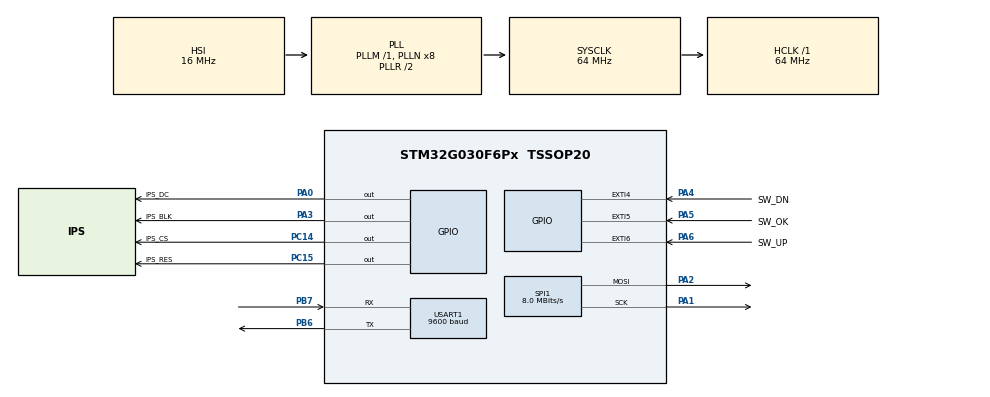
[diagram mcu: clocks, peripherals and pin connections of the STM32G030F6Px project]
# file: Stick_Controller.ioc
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Mcu.Family=STM32G0
Mcu.Name=STM32G030F6Px
Mcu.Package=TSSOP20
NVIC.EXTI4_15_IRQn=true\:3\:0\:true\:false\:true\:true\:true\:true
PA0.GPIO_Label=IPS_DC
PA0.Signal=GPIO_Output
PA1.Mode=TX_Only_Simplex_Unidirect_Master
PA1.Signal=SPI1_SCK
PA13.Mode=Serial_Wire
PA13.Signal=SYS_SWDIO
PA14-BOOT0.Mode=Serial_Wire
PA14-BOOT0.Signal=SYS_SWCLK
PA14-BOOT0__PA15.StandardMode=true
PA2.Mode=TX_Only_Simplex_Unidirect_Master
PA2.Signal=SPI1_MOSI
PA3.GPIO_Label=IPS_BLK
PA3.Signal=GPIO_Output
PA4.GPIO_Label=SW_DN
PA4.GPIO_ModeDefaultEXTI=GPIO_MODE_IT_FALLING
PA4.GPIO_PuPd=GPIO_PULLUP
PA4.Signal=GPXTI4
PA5.GPIO_Label=SW_OK
PA5.GPIO_ModeDefaultEXTI=GPIO_MODE_IT_FALLING
PA5.GPIO_PuPd=GPIO_PULLUP
PA5.Signal=GPXTI5
PA6.GPIO_Label=SW_UP
PA6.GPIO_ModeDefaultEXTI=GPIO_MODE_IT_FALLING
PA6.GPIO_PuPd=GPIO_PULLUP
PA6.Signal=GPXTI6
PB0__PB1__PB2__PA8.StandardMode=true
PB3__PB4__PB5__PB6.StandardMode=true
PB6.Mode=Asynchronous
PB6.Signal=USART1_TX
PB7.Mode=Asynchronous
PB7.Signal=USART1_RX
PB7__PB8.StandardMode=true
PC14-OSC32_IN\ (PC14).GPIO_Label=IPS_CS
PC14-OSC32_IN\ (PC14).Signal=GPIO_Output
PC14-OSC32_IN\ (PC14)__PB9.StandardMode=true
PC15-OSC32_OUT\ (PC15).GPIO_Label=IPS_RES
PC15-OSC32_OUT\ (PC15).Signal=GPIO_Output
ProjectManager.HeapSize=0x200
ProjectManager.StackSize=0x400
ProjectManager.TargetToolchain=STM32CubeIDE
RCC.ADCFreq_Value=64000000
RCC.AHBFreq_Value=64000000
RCC.CortexFreq_Value=64000000
RCC.EXTERNAL_CLOCK_VALUE=12288000
RCC.HCLKFreq_Value=64000000
RCC.HSE_VALUE=8000000
RCC.HSI_VALUE=16000000
RCC.LSE_VALUE=32768
RCC.SYSCLKFreq_VALUE=64000000
RCC.SYSCLKSource=RCC_SYSCLKSOURCE_PLLCLK
RCC.VCOOutputFreq_Value=128000000
SPI1.BaudRatePrescaler=SPI_BAUDRATEPRESCALER_8
SPI1.CalculateBaudRate=8.0 MBits/s
SPI1.Direction=SPI_DIRECTION_2LINES
SPI1.Mode=SPI_MODE_MASTER
SPI1.VirtualType=VM_MASTER
USART1.BaudRate=9600
USART1.VirtualMode-Asynchronous=VM_ASYNC
board=custom

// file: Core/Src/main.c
/* USER CODE BEGIN Header */
/**
  ******************************************************************************
  * @file           : main.c
  * @brief          : Main program body
  ******************************************************************************
  * @attention
  *
  * Copyright (c) 2024 STMicroelectronics.
  * All rights reserved.
  *
  * This software is licensed under terms that can be found in the LICENSE file
  * in the root directory of this software component.
  * If no LICENSE file comes with this software, it is provided AS-IS.
  *
  ******************************************************************************
  */
/* USER CODE END Header */
#include "main.h"
#include "spi.h"
#include "usart.h"
#include "gpio.h"

/* USER CODE BEGIN Includes */
#include "lcd_init.h"
#include "lcd.h"
#include "stdio.h"
/* USER CODE END Includes */

/* USER CODE BEGIN PV */
uint16_t Rdat = 255, Gdat, Bdat;
uint8_t State;
uint8_t Sel_Cnt;
uint8_t Sel_Flag = 1, Adj_Flag;
/* USER CODE END PV */

void SystemClock_Config(void);

int main(void)
{

  /* MCU Configuration--------------------------------------------------------*/

  /* Reset of all peripherals, Initializes the Flash interface and the Systick. */
  HAL_Init();

  /* Configure the system clock */
  SystemClock_Config();

  /* Initialize all configured peripherals */
  MX_GPIO_Init();
  MX_SPI1_Init();
  MX_USART1_UART_Init();
  /* USER CODE BEGIN 2 */
  LCD_Init();
  LCD_Fill(0, 0, LCD_W/2, LCD_H, RED);
  LCD_Fill(LCD_W/2-1, 0, LCD_W, LCD_H, WHITE);
  LCD_ShowString(LCD_W/2+5, 0, (uint8_t *)"R:", BLACK, WHITE, 24, 0);
  LCD_ShowString(LCD_W/2+5, 27, (uint8_t *)"G:", BLACK, WHITE, 24, 0);
  LCD_ShowString(LCD_W/2+5, 51, (uint8_t *)"B:", BLACK, WHITE, 24, 0);
  LCD_ShowIntNum(LCD_W/2+37, 0, Rdat, 3, WHITE, BLACK, 24);
  LCD_ShowIntNum(LCD_W/2+37, 27, Gdat, 3, BLACK, WHITE, 24);
  LCD_ShowIntNum(LCD_W/2+37, 51, Bdat, 3, BLACK, WHITE, 24);
  /* USER CODE END 2 */

  /* Infinite loop */
  /* USER CODE BEGIN WHILE */
  while (1)
  {
	  if (State == 0)
	  {
		  if (Sel_Flag)
		  {
			  Sel_Flag = 0;
			  switch (Sel_Cnt)
			  {
			  case 0:
				  LCD_ShowIntNum(LCD_W/2+37, 0, Rdat, 3, WHITE, BLACK, 24);
				  LCD_ShowIntNum(LCD_W/2+37, 27, Gdat, 3, BLACK, WHITE, 24);
				  LCD_ShowIntNum(LCD_W/2+37, 51, Bdat, 3, BLACK, WHITE, 24);
				  break;
			  case 1:
				  LCD_ShowIntNum(LCD_W/2+37, 0, Rdat, 3, BLACK, WHITE, 24);
				  LCD_ShowIntNum(LCD_W/2+37, 27, Gdat, 3, WHITE, BLACK, 24);
				  LCD_ShowIntNum(LCD_W/2+37, 51, Bdat, 3, BLACK, WHITE, 24);
				  break;
			  case 2:
				  LCD_ShowIntNum(LCD_W/2+37, 0, Rdat, 3, BLACK, WHITE, 24);
				  LCD_ShowIntNum(LCD_W/2+37, 27, Gdat, 3, BLACK, WHITE, 24);
				  LCD_ShowIntNum(LCD_W/2+37, 51, Bdat, 3, WHITE, BLACK, 24);
				  break;
			  }
		  }
	  }
	  else
	  {
		  if (Adj_Flag)
		  {
			  Adj_Flag = 0;
			  switch (Sel_Cnt)
			  {
			  case 0:
				  while (HAL_GPIO_ReadPin(SW_UP_GPIO_Port, SW_UP_Pin) == GPIO_PIN_RESET)
				  {
					  if (Rdat < 255)
					  {
						  Rdat++;
						  LCD_ShowIntNum(LCD_W/2+37, 0, Rdat, 3, WHITE, BLACK, 24);
						  LCD_Fill(0, 0, LCD_W/2, LCD_H, ((Rdat >> 3) << 11) + ((Gdat >> 2) << 5) + (Bdat >> 3));
					  }
				  }
				  while (HAL_GPIO_ReadPin(SW_DN_GPIO_Port, SW_DN_Pin) == GPIO_PIN_RESET)
				  {
					  if (Rdat > 0)
					  {
						  Rdat--;
						  LCD_ShowIntNum(LCD_W/2+37, 0, Rdat, 3, WHITE, BLACK, 24);
						  LCD_Fill(0, 0, LCD_W/2, LCD_H, ((Rdat >> 3) << 11) + ((Gdat >> 2) << 5) + (Bdat >> 3));
					  }
				  }
				  break;
			  case 1:
				  while (HAL_GPIO_ReadPin(SW_UP_GPIO_Port, SW_UP_Pin) == GPIO_PIN_RESET)
				  {
					  if (Gdat < 255)
					  {
						  Gdat++;
						  LCD_ShowIntNum(LCD_W/2+37, 27, Gdat, 3, WHITE, BLACK, 24);
						  LCD_Fill(0, 0, LCD_W/2, LCD_H, ((Rdat >> 3) << 11) + ((Gdat >> 2) << 5) + (Bdat >> 3));
					  }
				  }
				  while (HAL_GPIO_ReadPin(SW_DN_GPIO_Port, SW_DN_Pin) == GPIO_PIN_RESET)
				  {
					  if (Gdat > 0)
					  {
						  Gdat--;
						  LCD_ShowIntNum(LCD_W/2+37, 27, Gdat, 3, WHITE, BLACK, 24);
						  LCD_Fill(0, 0, LCD_W/2, LCD_H, ((Rdat >> 3) << 11) + ((Gdat >> 2) << 5) + (Bdat >> 3));
					  }
				  }
				  break;
			  case 2:
				  while (HAL_GPIO_ReadPin(SW_UP_GPIO_Port, SW_UP_Pin) == GPIO_PIN_RESET)
				  {
					  if (Bdat < 255)
					  {
						  Bdat++;
						  LCD_ShowIntNum(LCD_W/2+37, 51, Bdat, 3, WHITE, BLACK, 24);
						  LCD_Fill(0, 0, LCD_W/2, LCD_H, ((Rdat >> 3) << 11) + ((Gdat >> 2) << 5) + (Bdat >> 3));
					  }
				  }
				  while (HAL_GPIO_ReadPin(SW_DN_GPIO_Port, SW_DN_Pin) == GPIO_PIN_RESET)
				  {
					  if (Bdat > 0)
					  {
						  Bdat--;
						  LCD_ShowIntNum(LCD_W/2+37, 51, Bdat, 3, WHITE, BLACK, 24);
						  LCD_Fill(0, 0, LCD_W/2, LCD_H, ((Rdat >> 3) << 11) + ((Gdat >> 2) << 5) + (Bdat >> 3));
					  }
				  }
				  break;
			  }
		  }
	  }
    /* USER CODE END WHILE */

  }
}

void SystemClock_Config(void)
{
  RCC_OscInitTypeDef RCC_OscInitStruct = {0};
  RCC_ClkInitTypeDef RCC_ClkInitStruct = {0};

  /** Configure the main internal regulator output voltage
  */
  HAL_PWREx_ControlVoltageScaling(PWR_REGULATOR_VOLTAGE_SCALE1);

  /** Initializes the RCC Oscillators according to the specified parameters
  * in the RCC_OscInitTypeDef structure.
  */
  RCC_OscInitStruct.OscillatorType = RCC_OSCILLATORTYPE_HSI;
  RCC_OscInitStruct.HSIState = RCC_HSI_ON;
  RCC_OscInitStruct.HSIDiv = RCC_HSI_DIV1;
  RCC_OscInitStruct.HSICalibrationValue = RCC_HSICALIBRATION_DEFAULT;
  RCC_OscInitStruct.PLL.PLLState = RCC_PLL_ON;
  RCC_OscInitStruct.PLL.PLLSource = RCC_PLLSOURCE_HSI;
  RCC_OscInitStruct.PLL.PLLM = RCC_PLLM_DIV1;
  RCC_OscInitStruct.PLL.PLLN = 8;
  RCC_OscInitStruct.PLL.PLLP = RCC_PLLP_DIV2;
  RCC_OscInitStruct.PLL.PLLR = RCC_PLLR_DIV2;
  if (HAL_RCC_OscConfig(&RCC_OscInitStruct) != HAL_OK)
  {
    Error_Handler();
  }

  /*
   * * Initializes the CPU, AHB and APB buses clocks
  */
  RCC_ClkInitStruct.ClockType = RCC_CLOCKTYPE_HCLK|RCC_CLOCKTYPE_SYSCLK
                              |RCC_CLOCKTYPE_PCLK1;
  RCC_ClkInitStruct.SYSCLKSource = RCC_SYSCLKSOURCE_PLLCLK;
  RCC_ClkInitStruct.AHBCLKDivider = RCC_SYSCLK_DIV1;
  RCC_ClkInitStruct.APB1CLKDivider = RCC_HCLK_DIV1;

  if (HAL_RCC_ClockConfig(&RCC_ClkInitStruct, FLASH_LATENCY_2) != HAL_OK)
  {
    Error_Handler();
  }
}

/* USER CODE BEGIN 4 */
void HAL_GPIO_EXTI_Falling_Callback(uint16_t GPIO_Pin)
{
	uint8_t trans_buf[4] = {0};
	if(GPIO_Pin == SW_OK_Pin)
	{
		HAL_Delay(10);
        if (HAL_GPIO_ReadPin(SW_OK_GPIO_Port, SW_OK_Pin) == GPIO_PIN_RESET)
        {
        	if (State == 0)
        	{
        		State = 1;
        	}
        	else
        	{
        		State = 0;
        		trans_buf[0] = Rdat;
        		trans_buf[1] = Gdat;
        		trans_buf[2] = Bdat;
        		HAL_UART_Transmit(&huart1, trans_buf, 4, HAL_MAX_DELAY);
        	}

        }
	}
	else if(GPIO_Pin == SW_UP_Pin)
	{
		HAL_Delay(10);
        if (HAL_GPIO_ReadPin(SW_UP_GPIO_Port, SW_UP_Pin) == GPIO_PIN_RESET)
        {
        	if (State == 0)
        	{
        		if (Sel_Cnt > 0)
        		{
        			Sel_Flag = 1;
        			Sel_Cnt--;
        		}
        	}
        	else
        	{
        		Adj_Flag = 1;
        	}
        }
	}
	else if(GPIO_Pin == SW_DN_Pin)
	{
		HAL_Delay(10);
        if (HAL_GPIO_ReadPin(SW_DN_GPIO_Port, SW_DN_Pin) == GPIO_PIN_RESET)
        {
        	if (State == 0)
        	{
        		if (Sel_Cnt < 2)
        		{
        			Sel_Flag = 1;
        			Sel_Cnt++;
        		}
        	}
        	else
        	{
        		Adj_Flag = 1;
        	}
        }
	}
    __HAL_GPIO_EXTI_CLEAR_IT(GPIO_Pin);
}
/* USER CODE END 4 */

void Error_Handler(void)
{
  __disable_irq();
  while (1)
  {
  }
}
